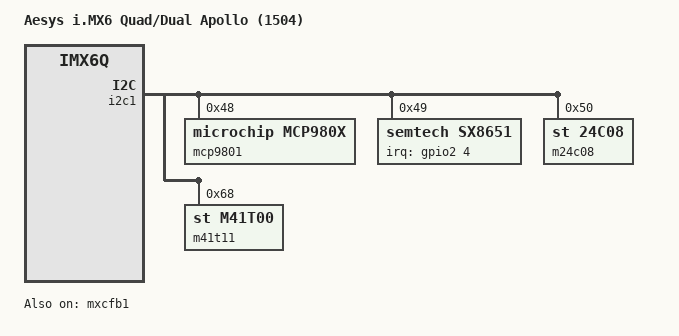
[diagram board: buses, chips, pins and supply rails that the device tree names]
/*
 * Copyright (C) 2013-2014 Freescale Semiconductor, Inc.
 *
 * This program is free software; you can redistribute it and/or modify
 * it under the terms of the GNU General Public License version 2 as
 * published by the Free Software Foundation.
 */

/dts-v1/;

#include "imx6q.dtsi"
#include "silverbullet-common.dtsi"

/ {
	model = "Aesys i.MX6 Quad/Dual Apollo (1504)";
	compatible = "aesys,imx6q-apollo", "umobo,imx6q-silverbullet", "fsl,imx6q";
};

&i2c1 {
	/* Microchip MCP9801 temperature sensor */
	mcp9801@48 {
		compatible = "microchip,mcp980x";
		reg = <0x48>;
	};

	/* Semtech SX8651 touchscreen */
	sx8651@49 {
		compatible = "semtech,sx8651";
		reg = <0x49>;
		interrupt-parent = <&gpio2>;
		interrupts = <4 IRQ_TYPE_EDGE_FALLING>;
	};

	/* ST M24C08 EEPROM */
	m24c08@50 {
		compatible = "st,24c08";
		reg = <0x50>;
	};

	/* ST M41T11 realtime clock */
	/* (using compatible driver for ST M41T00 */
	m41t11@68 {
		compatible = "st,m41t00";
		reg = <0x68>;
	};
};

&mxcfb1 {
	/* Set default LCD mode */
	compatible = "fsl,mxc_sdc_fb";
	disp_dev = "lcd";
	interface_pix_fmt = "RGB24";
	mode_str ="AMPIRE-AM480272MNTMQW-T00H";
	default_bpp = <16>;
	int_clk = <0>;
	late_init = <0>;
	status = "ok";
};
